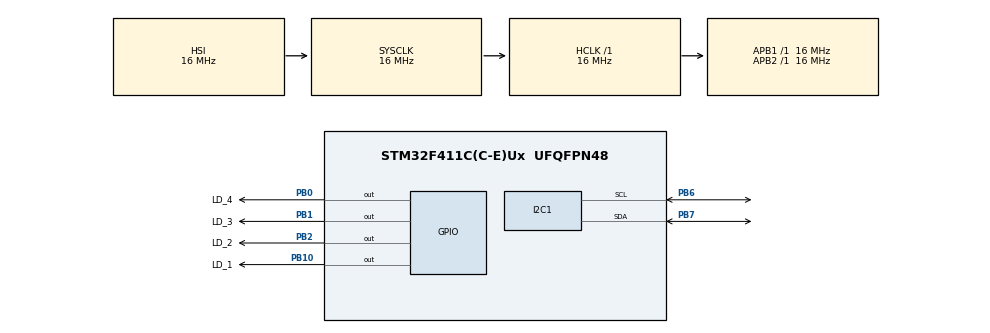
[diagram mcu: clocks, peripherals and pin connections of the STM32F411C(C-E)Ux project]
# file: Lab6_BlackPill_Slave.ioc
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I2C1.OwnAddress=0x12
Mcu.Family=STM32F4
Mcu.Name=STM32F411C(C-E)Ux
Mcu.Package=UFQFPN48
NVIC.I2C1_ER_IRQn=true\:0\:0\:false\:false\:true\:true\:true\:true
NVIC.I2C1_EV_IRQn=true\:0\:0\:false\:false\:true\:true\:true\:true
NVIC.PriorityGroup=NVIC_PRIORITYGROUP_4
PB0.GPIO_Label=LD_4
PB0.Signal=GPIO_Output
PB1.GPIO_Label=LD_3
PB1.Signal=GPIO_Output
PB10.GPIO_Label=LD_1
PB10.Signal=GPIO_Output
PB2.GPIO_Label=LD_2
PB2.Signal=GPIO_Output
PB6.Mode=I2C
PB6.Signal=I2C1_SCL
PB7.Mode=I2C
PB7.Signal=I2C1_SDA
ProjectManager.HeapSize=0x200
ProjectManager.StackSize=0x400
ProjectManager.TargetToolchain=STM32CubeIDE
RCC.AHBFreq_Value=16000000
RCC.APB1Freq_Value=16000000
RCC.APB2Freq_Value=16000000
RCC.CortexFreq_Value=16000000
RCC.HSE_VALUE=25000000
RCC.HSI_VALUE=16000000
RCC.LSE_VALUE=32768
RCC.SYSCLKFreq_VALUE=16000000
RCC.VCOOutputFreq_Value=192000000
board=custom

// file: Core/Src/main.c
/* USER CODE BEGIN Header */
/**
  ******************************************************************************
  * @file           : main.c
  * @brief          : Main program body
  ******************************************************************************
  * @attention
  *
  * Copyright (c) 2023 STMicroelectronics.
  * All rights reserved.
  *
  * This software is licensed under terms that can be found in the LICENSE file
  * in the root directory of this software component.
  * If no LICENSE file comes with this software, it is provided AS-IS.
  *
  ******************************************************************************
  */
/* USER CODE END Header */
#include "main.h"

/* USER CODE BEGIN Includes */
#include "i2c_slave.h"
/* USER CODE END Includes */

I2C_HandleTypeDef hi2c1;

void SystemClock_Config(void);
static void MX_GPIO_Init(void);
static void MX_I2C1_Init(void);

int main(void)
{
  /* USER CODE BEGIN 1 */
  HAL_StatusTypeDef ret_res;
  uint8_t Buffer_I2C[2];
  /* USER CODE END 1 */

  /* MCU Configuration--------------------------------------------------------*/

  /* Reset of all peripherals, Initializes the Flash interface and the Systick. */
  HAL_Init();

  /* Configure the system clock */
  SystemClock_Config();

  /* Initialize all configured peripherals */
  MX_GPIO_Init();
  MX_I2C1_Init();
  /* USER CODE BEGIN 2 */

  if (HAL_I2C_EnableListen_IT(&hi2c1) != HAL_OK)
    {
  	  Error_Handler();
    }

  /* USER CODE END 2 */

  /* Infinite loop */
  /* USER CODE BEGIN WHILE */
  while (1)
  {
	    ret_res = HAL_I2C_Slave_Receive(&hi2c1, Buffer_I2C, 2, 100);

	    if(ret_res == HAL_OK){
	    	HAL_GPIO_WritePin(GPIOB, LD_1_Pin, GPIO_PIN_RESET);
	    	HAL_GPIO_WritePin(GPIOB, LD_2_Pin, GPIO_PIN_RESET);
	    	HAL_GPIO_WritePin(GPIOB, LD_3_Pin, GPIO_PIN_RESET);
	    	HAL_GPIO_WritePin(GPIOB, LD_4_Pin, GPIO_PIN_RESET);
	    	HAL_Delay(200);
	    	HAL_GPIO_WritePin(GPIOB, LD_1_Pin, GPIO_PIN_SET);
	    	HAL_GPIO_WritePin(GPIOB, LD_2_Pin, GPIO_PIN_SET);
	    	HAL_GPIO_WritePin(GPIOB, LD_3_Pin, GPIO_PIN_SET);
	    	HAL_GPIO_WritePin(GPIOB, LD_4_Pin, GPIO_PIN_SET);
	    	HAL_Delay(200);
	    } else{
	    	HAL_GPIO_WritePin(GPIOB, LD_1_Pin, GPIO_PIN_RESET);
	    	HAL_GPIO_WritePin(GPIOB, LD_2_Pin, GPIO_PIN_RESET);
	    	HAL_GPIO_WritePin(GPIOB, LD_3_Pin, GPIO_PIN_RESET);
	    	HAL_GPIO_WritePin(GPIOB, LD_4_Pin, GPIO_PIN_RESET);
	    	HAL_Delay(1200);
	    	HAL_GPIO_WritePin(GPIOB, LD_1_Pin, GPIO_PIN_SET);
	    	HAL_GPIO_WritePin(GPIOB, LD_2_Pin, GPIO_PIN_SET);
	    	HAL_GPIO_WritePin(GPIOB, LD_3_Pin, GPIO_PIN_SET);
	    	HAL_GPIO_WritePin(GPIOB, LD_4_Pin, GPIO_PIN_SET);
	    	HAL_Delay(1200);
	    }

    /* USER CODE END WHILE */

  }
}

void SystemClock_Config(void)
{
  RCC_OscInitTypeDef RCC_OscInitStruct = {0};
  RCC_ClkInitTypeDef RCC_ClkInitStruct = {0};

  /** Configure the main internal regulator output voltage
  */
  __HAL_RCC_PWR_CLK_ENABLE();
  __HAL_PWR_VOLTAGESCALING_CONFIG(PWR_REGULATOR_VOLTAGE_SCALE1);

  /** Initializes the RCC Oscillators according to the specified parameters
  * in the RCC_OscInitTypeDef structure.
  */
  RCC_OscInitStruct.OscillatorType = RCC_OSCILLATORTYPE_HSI;
  RCC_OscInitStruct.HSIState = RCC_HSI_ON;
  RCC_OscInitStruct.HSICalibrationValue = RCC_HSICALIBRATION_DEFAULT;
  RCC_OscInitStruct.PLL.PLLState = RCC_PLL_NONE;
  if (HAL_RCC_OscConfig(&RCC_OscInitStruct) != HAL_OK)
  {
    Error_Handler();
  }

  /** Initializes the CPU, AHB and APB buses clocks
  */
  RCC_ClkInitStruct.ClockType = RCC_CLOCKTYPE_HCLK|RCC_CLOCKTYPE_SYSCLK
                              |RCC_CLOCKTYPE_PCLK1|RCC_CLOCKTYPE_PCLK2;
  RCC_ClkInitStruct.SYSCLKSource = RCC_SYSCLKSOURCE_HSI;
  RCC_ClkInitStruct.AHBCLKDivider = RCC_SYSCLK_DIV1;
  RCC_ClkInitStruct.APB1CLKDivider = RCC_HCLK_DIV1;
  RCC_ClkInitStruct.APB2CLKDivider = RCC_HCLK_DIV1;

  if (HAL_RCC_ClockConfig(&RCC_ClkInitStruct, FLASH_LATENCY_0) != HAL_OK)
  {
    Error_Handler();
  }
}

static void MX_I2C1_Init(void)
{

  hi2c1.Instance = I2C1;
  hi2c1.Init.ClockSpeed = 100000;
  hi2c1.Init.DutyCycle = I2C_DUTYCYCLE_2;
  hi2c1.Init.OwnAddress1 = 36;
  hi2c1.Init.AddressingMode = I2C_ADDRESSINGMODE_7BIT;
  hi2c1.Init.DualAddressMode = I2C_DUALADDRESS_DISABLE;
  hi2c1.Init.OwnAddress2 = 0;
  hi2c1.Init.GeneralCallMode = I2C_GENERALCALL_DISABLE;
  hi2c1.Init.NoStretchMode = I2C_NOSTRETCH_DISABLE;
  if (HAL_I2C_Init(&hi2c1) != HAL_OK)
  {
    Error_Handler();
  }

}

static void MX_GPIO_Init(void)
{
  GPIO_InitTypeDef GPIO_InitStruct = {0};

  /* GPIO Ports Clock Enable */
  __HAL_RCC_GPIOB_CLK_ENABLE();

  /*Configure GPIO pin Output Level */
  HAL_GPIO_WritePin(GPIOB, LD_4_Pin|LD_3_Pin|LD_2_Pin|LD_1_Pin, GPIO_PIN_RESET);

  /*Configure GPIO pins : LD_4_Pin LD_3_Pin LD_2_Pin LD_1_Pin */
  GPIO_InitStruct.Pin = LD_4_Pin|LD_3_Pin|LD_2_Pin|LD_1_Pin;
  GPIO_InitStruct.Mode = GPIO_MODE_OUTPUT_PP;
  GPIO_InitStruct.Pull = GPIO_NOPULL;
  GPIO_InitStruct.Speed = GPIO_SPEED_FREQ_LOW;
  HAL_GPIO_Init(GPIOB, &GPIO_InitStruct);

}

void Error_Handler(void)
{
  __disable_irq();
  while (1)
  {
  }
}
